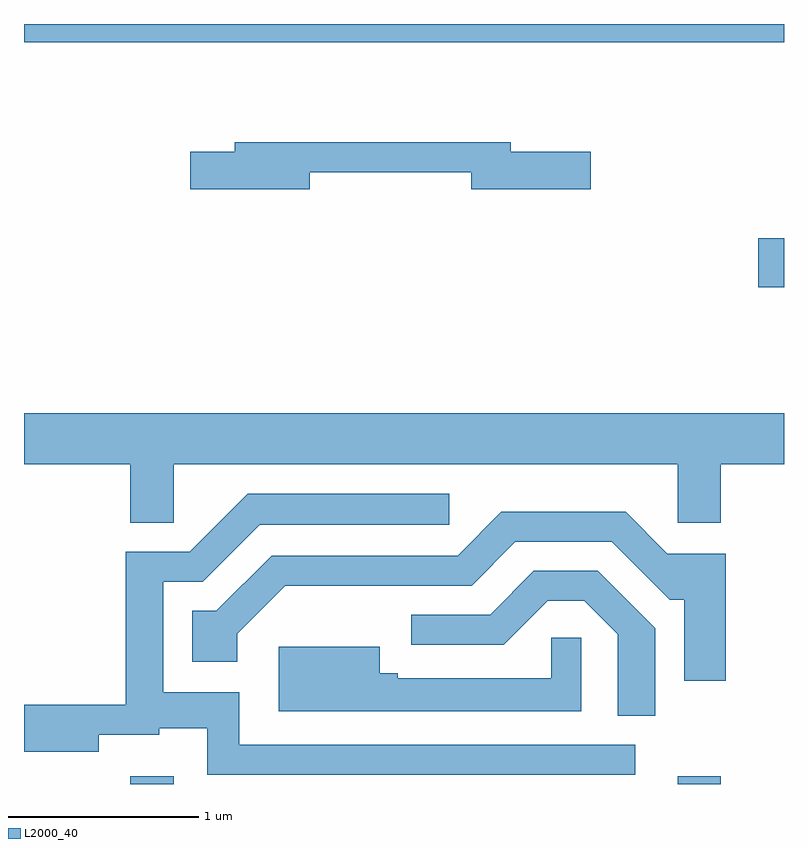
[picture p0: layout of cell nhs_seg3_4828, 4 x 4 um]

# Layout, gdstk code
import gdstk
lib = gdstk.Library(unit=1e-6, precision=1e-09)
def R(c, l, rs):  # rectangles x0, y0, x1, y1
    for r in rs: c.add(gdstk.rectangle(r[:2], r[2:], *l))
def P(c, l, *ps):  # polygons
    for p in ps: c.add(gdstk.Polygon(p, *l))
L2000_40 = (2000, 40)

nhs_seg3_4828 = lib.new_cell('nhs_seg3_4828')
R(nhs_seg3_4828, L2000_40, [(328.171,1119.892,328.399,1119.934), (331.051,1119.892,331.279,1119.934), (331.476,1122.506,331.611,1122.764), (327.611,1123.796,331.611,1123.892)])
P(nhs_seg3_4828, L2000_40, [(329.114,1123.111),(329.966,1123.111),(329.966,1123.021),(330.594,1123.021),(330.594,1123.219),(330.174,1123.219),(330.174,1123.269),(328.721,1123.269),(328.721,1123.219),(328.486,1123.219),(328.486,1123.021),(329.114,1123.021)],
  [(328.399,1121.576),(331.051,1121.576),(331.051,1121.266),(331.279,1121.266),(331.279,1121.576),(331.611,1121.576),(331.611,1121.844),(327.611,1121.844),(327.611,1121.576),(328.171,1121.576),(328.171,1121.266),(328.399,1121.266)],
  [(330.828,1120.099),(328.744,1120.099),(328.744,1120.374),(328.344,1120.374),(328.344,1120.956),(328.552,1120.956),(328.852,1121.256),(329.848,1121.256),(329.848,1121.419),(328.789,1121.419),(328.484,1121.114),(328.146,1121.114),(328.146,1120.309),(327.611,1120.309),(327.611,1120.061),(328.004,1120.061),(328.004,1120.151),(328.324,1120.151),(328.324,1120.186),(328.576,1120.186),(328.576,1119.941),(330.828,1119.941)],
  [(331.304,1121.104),(330.997,1121.104),(330.777,1121.324),(330.124,1121.324),(329.894,1121.094),(328.914,1121.094),(328.624,1120.804),(328.496,1120.804),(328.496,1120.536),(328.734,1120.536),(328.734,1120.684),(328.987,1120.936),(329.967,1120.936),(330.197,1121.166),(330.704,1121.166),(331.009,1120.861),(331.086,1120.861),(331.086,1120.436),(331.304,1120.436)],
  [(330.934,1120.712),(330.632,1121.014),(330.294,1121.014),(330.064,1120.784),(329.648,1120.784),(329.648,1120.626),(330.137,1120.626),(330.367,1120.856),(330.559,1120.856),(330.736,1120.679),(330.736,1120.251),(330.934,1120.251)],
  [(330.544,1120.663),(330.386,1120.663),(330.386,1120.449),(329.579,1120.449),(329.579,1120.474),(329.484,1120.474),(329.484,1120.614),(328.951,1120.614),(328.951,1120.276),(330.544,1120.276)])

lib.write_gds('nhs_seg3_4828.gds')
